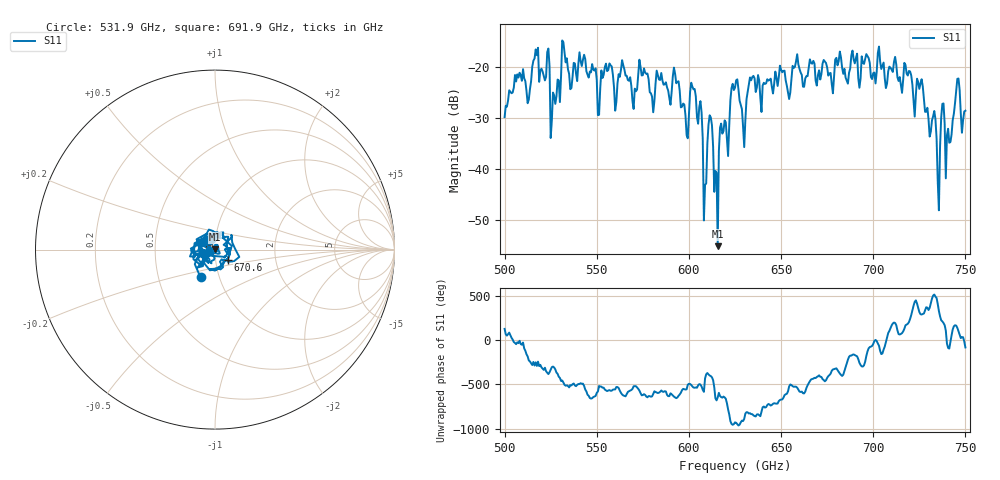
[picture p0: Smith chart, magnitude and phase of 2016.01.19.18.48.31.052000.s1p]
!Created with skrf (http://scikit-rf.org).
# GHz S RI R 50.0
!freq ReS11 ImS11
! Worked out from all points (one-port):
!   401 points, 500 GHz to 750 GHz, reference 50 ohm
!   lowest |S11| = -55.1 dB at 615.6 GHz (marker M1), VSWR 1.00, Z = 50.1 + j0.169 ohm
!   |S11| at or under -10 dB: start of sweep to end of sweep
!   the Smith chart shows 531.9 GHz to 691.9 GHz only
!   S11 on the Smith chart (normalised r, x): 531.9 GHz: 0.81, -0.26; 670.6 GHz: 1.15, -0.13; 691.9 GHz: 0.87, +0.08
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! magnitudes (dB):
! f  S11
! 500 GHz  -29.8
! 513.1 GHz  -26.4
! 516.9 GHz  -16.6
! 523.1 GHz  -17.1
! 526.2 GHz  -25.0
! 531.2 GHz  -14.8
! 531.9 GHz  -15.1
! 551.2 GHz  -29.4
! 562.5 GHz  -21.9
! 593.8 GHz  -22.9
! 598.8 GHz  -33.4
! 602.5 GHz  -24.4
! 608.8 GHz  -43.1
! 611.9 GHz  -29.9
! 614.4 GHz  -40.3
! 615.6 GHz  -55.1
! 625 GHz  -24.1
! 629.4 GHz  -31.7
! 634.4 GHz  -22.0
! 656.2 GHz  -19.8
! 670.6 GHz  -20.7
! 687.5 GHz  -20.3
! 691.9 GHz  -22.1
! 718.8 GHz  -21.7
! 733.1 GHz  -28.6
! 735 GHz  -42.4
! 745.6 GHz  -22.3
! 750 GHz  -28.6
